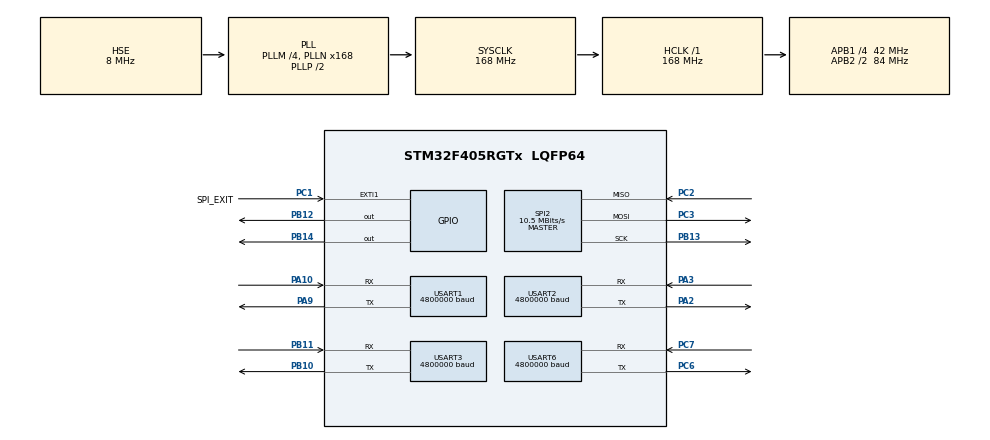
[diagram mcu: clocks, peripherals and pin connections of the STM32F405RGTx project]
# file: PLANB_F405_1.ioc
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Dma.Request0=USART1_RX
Dma.Request1=USART2_RX
Dma.Request2=USART3_RX
Dma.Request3=USART6_RX
Dma.Request4=SPI2_RX
Dma.Request5=SPI2_TX
Dma.SPI2_RX.4.Direction=DMA_PERIPH_TO_MEMORY
Dma.SPI2_RX.4.FIFOMode=DMA_FIFOMODE_DISABLE
Dma.SPI2_RX.4.Instance=DMA1_Stream3
Dma.SPI2_RX.4.MemDataAlignment=DMA_MDATAALIGN_BYTE
Dma.SPI2_RX.4.MemInc=DMA_MINC_ENABLE
Dma.SPI2_RX.4.Mode=DMA_NORMAL
Dma.SPI2_RX.4.PeriphDataAlignment=DMA_PDATAALIGN_BYTE
Dma.SPI2_RX.4.PeriphInc=DMA_PINC_DISABLE
Dma.SPI2_RX.4.Priority=DMA_PRIORITY_HIGH
Dma.SPI2_TX.5.Direction=DMA_MEMORY_TO_PERIPH
Dma.SPI2_TX.5.FIFOMode=DMA_FIFOMODE_DISABLE
Dma.SPI2_TX.5.Instance=DMA1_Stream4
Dma.SPI2_TX.5.MemDataAlignment=DMA_MDATAALIGN_BYTE
Dma.SPI2_TX.5.MemInc=DMA_MINC_ENABLE
Dma.SPI2_TX.5.Mode=DMA_NORMAL
Dma.SPI2_TX.5.PeriphDataAlignment=DMA_PDATAALIGN_BYTE
Dma.SPI2_TX.5.PeriphInc=DMA_PINC_DISABLE
Dma.SPI2_TX.5.Priority=DMA_PRIORITY_MEDIUM
Dma.USART1_RX.0.Direction=DMA_PERIPH_TO_MEMORY
Dma.USART1_RX.0.FIFOMode=DMA_FIFOMODE_DISABLE
Dma.USART1_RX.0.Instance=DMA2_Stream2
Dma.USART1_RX.0.MemDataAlignment=DMA_MDATAALIGN_BYTE
Dma.USART1_RX.0.MemInc=DMA_MINC_ENABLE
Dma.USART1_RX.0.Mode=DMA_NORMAL
Dma.USART1_RX.0.PeriphDataAlignment=DMA_PDATAALIGN_BYTE
Dma.USART1_RX.0.PeriphInc=DMA_PINC_DISABLE
Dma.USART1_RX.0.Priority=DMA_PRIORITY_LOW
Dma.USART2_RX.1.Direction=DMA_PERIPH_TO_MEMORY
Dma.USART2_RX.1.FIFOMode=DMA_FIFOMODE_DISABLE
Dma.USART2_RX.1.Instance=DMA1_Stream5
Dma.USART2_RX.1.MemDataAlignment=DMA_MDATAALIGN_BYTE
Dma.USART2_RX.1.MemInc=DMA_MINC_ENABLE
Dma.USART2_RX.1.Mode=DMA_NORMAL
Dma.USART2_RX.1.PeriphDataAlignment=DMA_PDATAALIGN_BYTE
Dma.USART2_RX.1.PeriphInc=DMA_PINC_DISABLE
Dma.USART2_RX.1.Priority=DMA_PRIORITY_LOW
Dma.USART3_RX.2.Direction=DMA_PERIPH_TO_MEMORY
Dma.USART3_RX.2.FIFOMode=DMA_FIFOMODE_DISABLE
Dma.USART3_RX.2.Instance=DMA1_Stream1
Dma.USART3_RX.2.MemDataAlignment=DMA_MDATAALIGN_BYTE
Dma.USART3_RX.2.MemInc=DMA_MINC_ENABLE
Dma.USART3_RX.2.Mode=DMA_NORMAL
Dma.USART3_RX.2.PeriphDataAlignment=DMA_PDATAALIGN_BYTE
Dma.USART3_RX.2.PeriphInc=DMA_PINC_DISABLE
Dma.USART3_RX.2.Priority=DMA_PRIORITY_LOW
Dma.USART6_RX.3.Direction=DMA_PERIPH_TO_MEMORY
Dma.USART6_RX.3.FIFOMode=DMA_FIFOMODE_DISABLE
Dma.USART6_RX.3.Instance=DMA2_Stream1
Dma.USART6_RX.3.MemDataAlignment=DMA_MDATAALIGN_BYTE
Dma.USART6_RX.3.MemInc=DMA_MINC_ENABLE
Dma.USART6_RX.3.Mode=DMA_NORMAL
Dma.USART6_RX.3.PeriphDataAlignment=DMA_PDATAALIGN_BYTE
Dma.USART6_RX.3.PeriphInc=DMA_PINC_DISABLE
Dma.USART6_RX.3.Priority=DMA_PRIORITY_LOW
Mcu.Family=STM32F4
Mcu.Name=STM32F405RGTx
Mcu.Package=LQFP64
NVIC.DMA1_Stream1_IRQn=true\:0\:0\:false\:false\:false\:false\:true\:true
NVIC.DMA1_Stream3_IRQn=true\:0\:0\:false\:false\:false\:false\:true\:true
NVIC.DMA1_Stream4_IRQn=true\:0\:0\:false\:false\:false\:false\:true\:true
NVIC.DMA1_Stream5_IRQn=true\:0\:0\:false\:false\:false\:false\:true\:true
NVIC.DMA2_Stream1_IRQn=true\:0\:0\:false\:false\:false\:false\:true\:true
NVIC.DMA2_Stream2_IRQn=true\:0\:0\:false\:false\:false\:false\:true\:true
NVIC.EXTI1_IRQn=true\:0\:0\:false\:false\:true\:true\:true\:true
NVIC.PriorityGroup=NVIC_PRIORITYGROUP_4
NVIC.SPI2_IRQn=true\:2\:0\:true\:false\:true\:true\:true\:true
NVIC.USART1_IRQn=true\:3\:0\:true\:false\:false\:true\:true\:true
NVIC.USART2_IRQn=true\:3\:0\:true\:false\:false\:true\:true\:true
NVIC.USART3_IRQn=true\:3\:0\:true\:false\:false\:true\:true\:true
NVIC.USART6_IRQn=true\:3\:0\:true\:false\:false\:true\:true\:true
PA10.Mode=Asynchronous
PA10.Signal=USART1_RX
PA13.Mode=Serial_Wire
PA13.Signal=SYS_JTMS-SWDIO
PA14.Mode=Serial_Wire
PA14.Signal=SYS_JTCK-SWCLK
PA2.Mode=Asynchronous
PA2.Signal=USART2_TX
PA3.Mode=Asynchronous
PA3.Signal=USART2_RX
PA9.Mode=Asynchronous
PA9.Signal=USART1_TX
PB10.Mode=Asynchronous
PB10.Signal=USART3_TX
PB11.Mode=Asynchronous
PB11.Signal=USART3_RX
PB12.GPIO_PuPd=GPIO_NOPULL
PB12.GPIO_Speed=GPIO_SPEED_FREQ_VERY_HIGH
PB12.PinState=GPIO_PIN_RESET
PB12.Signal=GPIO_Output
PB13.Mode=Full_Duplex_Master
PB13.Signal=SPI2_SCK
PB14.PinState=GPIO_PIN_SET
PB14.Signal=GPIO_Output
PC1.GPIO_Label=SPI_EXIT
PC1.GPIO_ModeDefaultEXTI=GPIO_MODE_IT_RISING
PC1.GPIO_PuPd=GPIO_PULLUP
PC1.Signal=GPXTI1
PC2.Mode=Full_Duplex_Master
PC2.Signal=SPI2_MISO
PC3.Mode=Full_Duplex_Master
PC3.Signal=SPI2_MOSI
PC6.Mode=Asynchronous
PC6.Signal=USART6_TX
PC7.Mode=Asynchronous
PC7.Signal=USART6_RX
PH0-OSC_IN.Mode=HSE-External-Oscillator
PH0-OSC_IN.Signal=RCC_OSC_IN
PH1-OSC_OUT.Mode=HSE-External-Oscillator
PH1-OSC_OUT.Signal=RCC_OSC_OUT
ProjectManager.HeapSize=0x200
ProjectManager.StackSize=0x400
ProjectManager.TargetToolchain=Makefile
RCC.48MHZClocksFreq_Value=84000000
RCC.AHBFreq_Value=168000000
RCC.APB1CLKDivider=RCC_HCLK_DIV4
RCC.APB1Freq_Value=42000000
RCC.APB1TimFreq_Value=84000000
RCC.APB2CLKDivider=RCC_HCLK_DIV2
RCC.APB2Freq_Value=84000000
RCC.APB2TimFreq_Value=168000000
RCC.CortexFreq_Value=168000000
RCC.HCLKFreq_Value=168000000
RCC.HSE_VALUE=8000000
RCC.HSI_VALUE=16000000
RCC.LSE_VALUE=32768
RCC.PLLM=4
RCC.PLLN=168
RCC.PLLSourceVirtual=RCC_PLLSOURCE_HSE
RCC.SYSCLKFreq_VALUE=168000000
RCC.SYSCLKSource=RCC_SYSCLKSOURCE_PLLCLK
RCC.VCOOutputFreq_Value=336000000
SPI2.BaudRatePrescaler=SPI_BAUDRATEPRESCALER_4
SPI2.CLKPolarity=SPI_POLARITY_HIGH
SPI2.CalculateBaudRate=10.5 MBits/s
SPI2.Direction=SPI_DIRECTION_2LINES
SPI2.Mode=SPI_MODE_MASTER
SPI2.VirtualType=VM_MASTER
USART1.BaudRate=4800000
USART1.VirtualMode=VM_ASYNC
USART2.BaudRate=4800000
USART2.OverSampling=UART_OVERSAMPLING_8
USART2.VirtualMode=VM_ASYNC
USART3.BaudRate=4800000
USART3.OverSampling=UART_OVERSAMPLING_8
USART3.VirtualMode=VM_ASYNC
USART6.BaudRate=4800000
USART6.VirtualMode=VM_ASYNC
board=custom

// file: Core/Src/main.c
/* USER CODE BEGIN Header */
/**
 ******************************************************************************
 * @file           : main.c
 * @brief          : Main program body
 ******************************************************************************
 * @attention
 *
 * Copyright (c) 2024 STMicroelectronics.
 * All rights reserved.
 *
 * This software is licensed under terms that can be found in the LICENSE file
 * in the root directory of this software component.
 * If no LICENSE file comes with this software, it is provided AS-IS.
 *
 ******************************************************************************
 */
/* USER CODE END Header */
#include "main.h"
#include "dma.h"
#include "spi.h"
#include "usart.h"
#include "gpio.h"

/* USER CODE BEGIN Includes */
#include "unitreeA1_cmd.h"
#include "unitreeA1_recv.h"
#include "spi_deal.h"
/* USER CODE END Includes */

void SystemClock_Config(void);

int main(void)
{

  /* MCU Configuration--------------------------------------------------------*/

  /* Reset of all peripherals, Initializes the Flash interface and the Systick. */
  HAL_Init();

  /* Configure the system clock */
  SystemClock_Config();

  /* Initialize all configured peripherals */
  MX_GPIO_Init();
  MX_DMA_Init();
  MX_SPI2_Init();
  MX_USART1_UART_Init();
  MX_USART2_UART_Init();
  MX_USART3_UART_Init();
  MX_USART6_UART_Init();
  /* USER CODE BEGIN 2 */

  remote_control_init();
  // EcatChat_Init();

  /* USER CODE END 2 */

  /* Infinite loop */
  /* USER CODE BEGIN WHILE */
  while (1)
  {
    // sendToEcat(0);
    /**/
    SPI_TRANSMIT(0, 0);
    unitreeA1_tx(0, 0);

    SPI_TRANSMIT(1, 0);
    unitreeA1_tx(1, 0);

    SPI_TRANSMIT(0, 1);
    unitreeA1_tx(0, 1);

    SPI_TRANSMIT(1, 1);
    unitreeA1_tx(1, 1);

    SPI_TRANSMIT(0, 2);
    unitreeA1_tx(0, 2);

    SPI_TRANSMIT(1, 2);
    unitreeA1_tx(1, 2);

    // SPI_TRANSMIT(1,1);
    // SPI_TRANSMIT(1,2);
    // SPI_TRANSMIT(2,0);
    // SPI_TRANSMIT(2,1);
    // SPI_TRANSMIT(2,2);
    // SPI_TRANSMIT(3,0);
    // SPI_TRANSMIT(3,1);
    // SPI_TRANSMIT(3,2);

    // unitreeA1_tx(1,1);
    // unitreeA1_tx(1,2);
    // unitreeA1_tx(2,0);
    // unitreeA1_tx(2,1);
    // unitreeA1_tx(2,2);
    // unitreeA1_tx(3,0);
    // unitreeA1_tx(3,1);
    // unitreeA1_tx(3,2);

    /* USER CODE END WHILE */

  }
}

void SystemClock_Config(void)
{
  RCC_OscInitTypeDef RCC_OscInitStruct = {0};
  RCC_ClkInitTypeDef RCC_ClkInitStruct = {0};

  /** Configure the main internal regulator output voltage
   */
  __HAL_RCC_PWR_CLK_ENABLE();
  __HAL_PWR_VOLTAGESCALING_CONFIG(PWR_REGULATOR_VOLTAGE_SCALE1);

  /** Initializes the RCC Oscillators according to the specified parameters
   * in the RCC_OscInitTypeDef structure.
   */
  RCC_OscInitStruct.OscillatorType = RCC_OSCILLATORTYPE_HSE;
  RCC_OscInitStruct.HSEState = RCC_HSE_ON;
  RCC_OscInitStruct.PLL.PLLState = RCC_PLL_ON;
  RCC_OscInitStruct.PLL.PLLSource = RCC_PLLSOURCE_HSE;
  RCC_OscInitStruct.PLL.PLLM = 4;
  RCC_OscInitStruct.PLL.PLLN = 168;
  RCC_OscInitStruct.PLL.PLLP = RCC_PLLP_DIV2;
  RCC_OscInitStruct.PLL.PLLQ = 4;
  if (HAL_RCC_OscConfig(&RCC_OscInitStruct) != HAL_OK)
  {
    Error_Handler();
  }

  /** Initializes the CPU, AHB and APB buses clocks
   */
  RCC_ClkInitStruct.ClockType = RCC_CLOCKTYPE_HCLK | RCC_CLOCKTYPE_SYSCLK | RCC_CLOCKTYPE_PCLK1 | RCC_CLOCKTYPE_PCLK2;
  RCC_ClkInitStruct.SYSCLKSource = RCC_SYSCLKSOURCE_PLLCLK;
  RCC_ClkInitStruct.AHBCLKDivider = RCC_SYSCLK_DIV1;
  RCC_ClkInitStruct.APB1CLKDivider = RCC_HCLK_DIV4;
  RCC_ClkInitStruct.APB2CLKDivider = RCC_HCLK_DIV2;

  if (HAL_RCC_ClockConfig(&RCC_ClkInitStruct, FLASH_LATENCY_5) != HAL_OK)
  {
    Error_Handler();
  }
}

void Error_Handler(void)
{
  __disable_irq();
  while (1)
  {
  }
}
